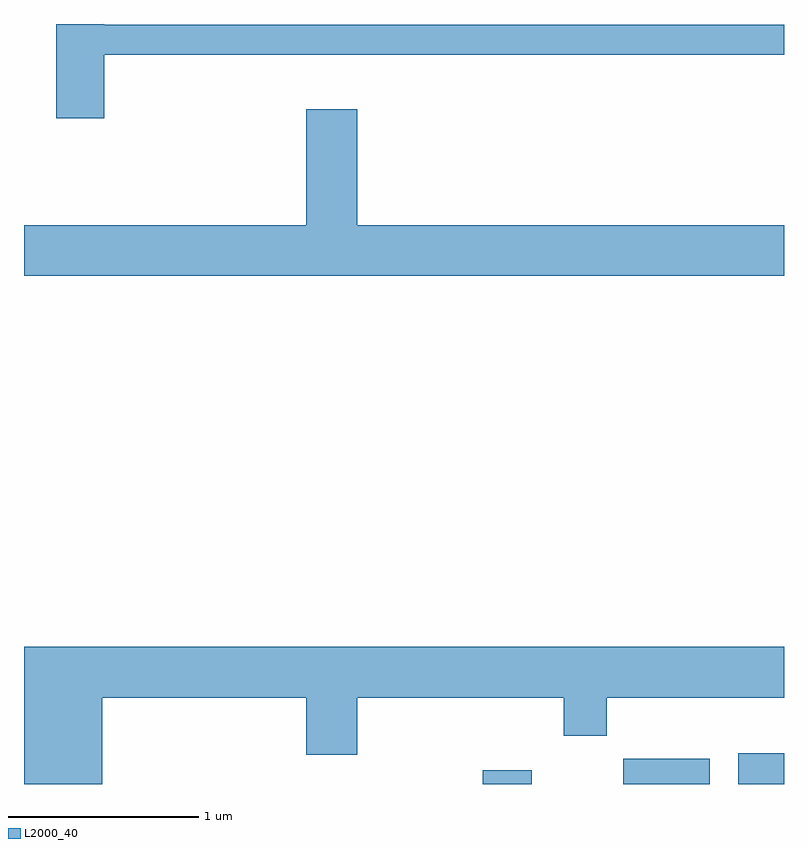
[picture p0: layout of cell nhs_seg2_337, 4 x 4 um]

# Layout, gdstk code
import gdstk
lib = gdstk.Library(unit=1e-6, precision=1e-09)
def R(c, l, rs):  # rectangles x0, y0, x1, y1
    for r in rs: c.add(gdstk.rectangle(r[:2], r[2:], *l))
def P(c, l, *ps):  # polygons
    for p in ps: c.add(gdstk.Polygon(p, *l))
L2000_40 = (2000, 40)

nhs_seg2_337 = lib.new_cell('nhs_seg2_337')
R(nhs_seg2_337, L2000_40, [(196.026,1107.802,196.284,1107.874), (196.766,1107.802,197.219,1107.934), (197.371,1107.802,197.611,1107.964)])
P(nhs_seg2_337, L2000_40, [(194.034,1111.641),(197.611,1111.641),(197.611,1111.799),(194.034,1111.799),(194.034,1111.802),(193.781,1111.802),(193.781,1111.306),(194.034,1111.306)],
  [(197.611,1110.744),(195.364,1110.744),(195.364,1111.354),(195.096,1111.354),(195.096,1110.744),(193.611,1110.744),(193.611,1110.476),(197.611,1110.476)],
  [(194.024,1108.256),(195.096,1108.256),(195.096,1107.956),(195.364,1107.956),(195.364,1108.256),(196.451,1108.256),(196.451,1108.056),(196.679,1108.056),(196.679,1108.256),(197.611,1108.256),(197.611,1108.524),(193.611,1108.524),(193.611,1107.802),(194.024,1107.802)])

lib.write_gds('nhs_seg2_337.gds')
